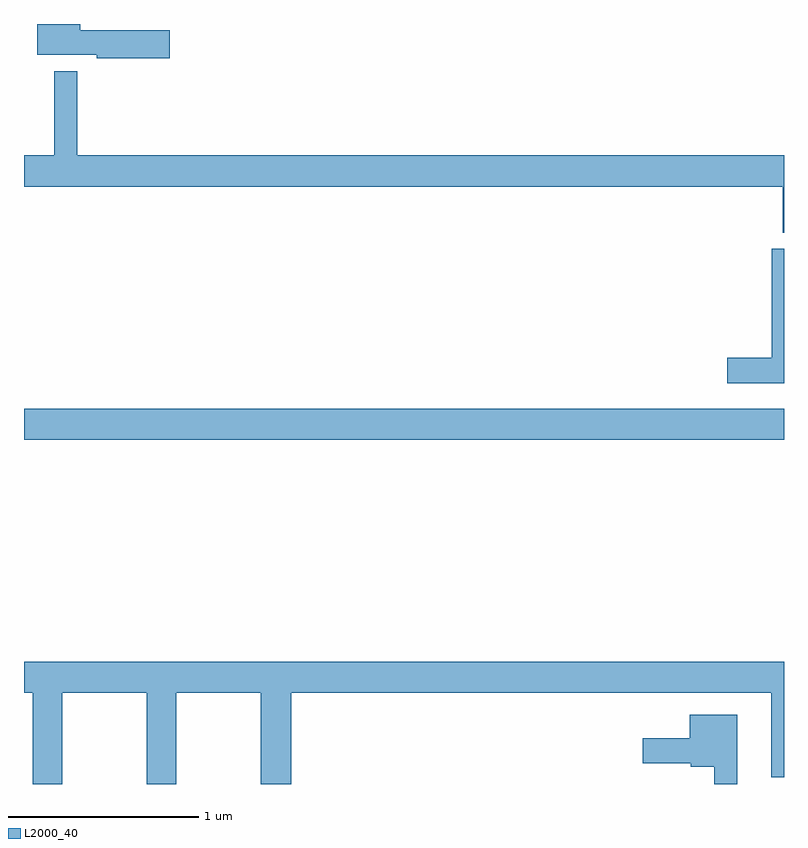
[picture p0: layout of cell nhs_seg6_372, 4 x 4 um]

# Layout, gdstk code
import gdstk
lib = gdstk.Library(unit=1e-6, precision=1e-09)
def R(c, l, rs):  # rectangles x0, y0, x1, y1
    for r in rs: c.add(gdstk.rectangle(r[:2], r[2:], *l))
def P(c, l, *ps):  # polygons
    for p in ps: c.add(gdstk.Polygon(p, *l))
L2000_40 = (2000, 40)

nhs_seg6_372 = lib.new_cell('nhs_seg6_372')
R(nhs_seg6_372, L2000_40, [(131,971.312,135,971.476)])
P(nhs_seg6_372, L2000_40, [(131.767,973.466),(131.296,973.466),(131.296,973.5),(131.069,973.5),(131.069,973.337),(131.382,973.337),(131.382,973.319),(131.767,973.319)],
  [(135,972.808),(131.281,972.808),(131.281,973.252),(131.159,973.252),(131.159,972.808),(131,972.808),(131,972.644),(134.993,972.644),(134.993,972.401),(135,972.401)],
  [(135,972.316),(134.936,972.316),(134.936,971.744),(134.7,971.744),(134.7,971.609),(135,971.609)],
  [(131.202,969.98),(131.647,969.98),(131.647,969.5),(131.802,969.5),(131.802,969.98),(132.247,969.98),(132.247,969.5),(132.407,969.5),(132.407,969.98),(134.933,969.98),(134.933,969.536),(135,969.536),(135,970.144),(131,970.144),(131,969.98),(131.047,969.98),(131.047,969.5),(131.202,969.5)],
  [(134.755,969.865),(134.504,969.865),(134.504,969.742),(134.256,969.742),(134.256,969.608),(134.508,969.608),(134.508,969.59),(134.634,969.59),(134.634,969.5),(134.755,969.5)])

lib.write_gds('nhs_seg6_372.gds')
